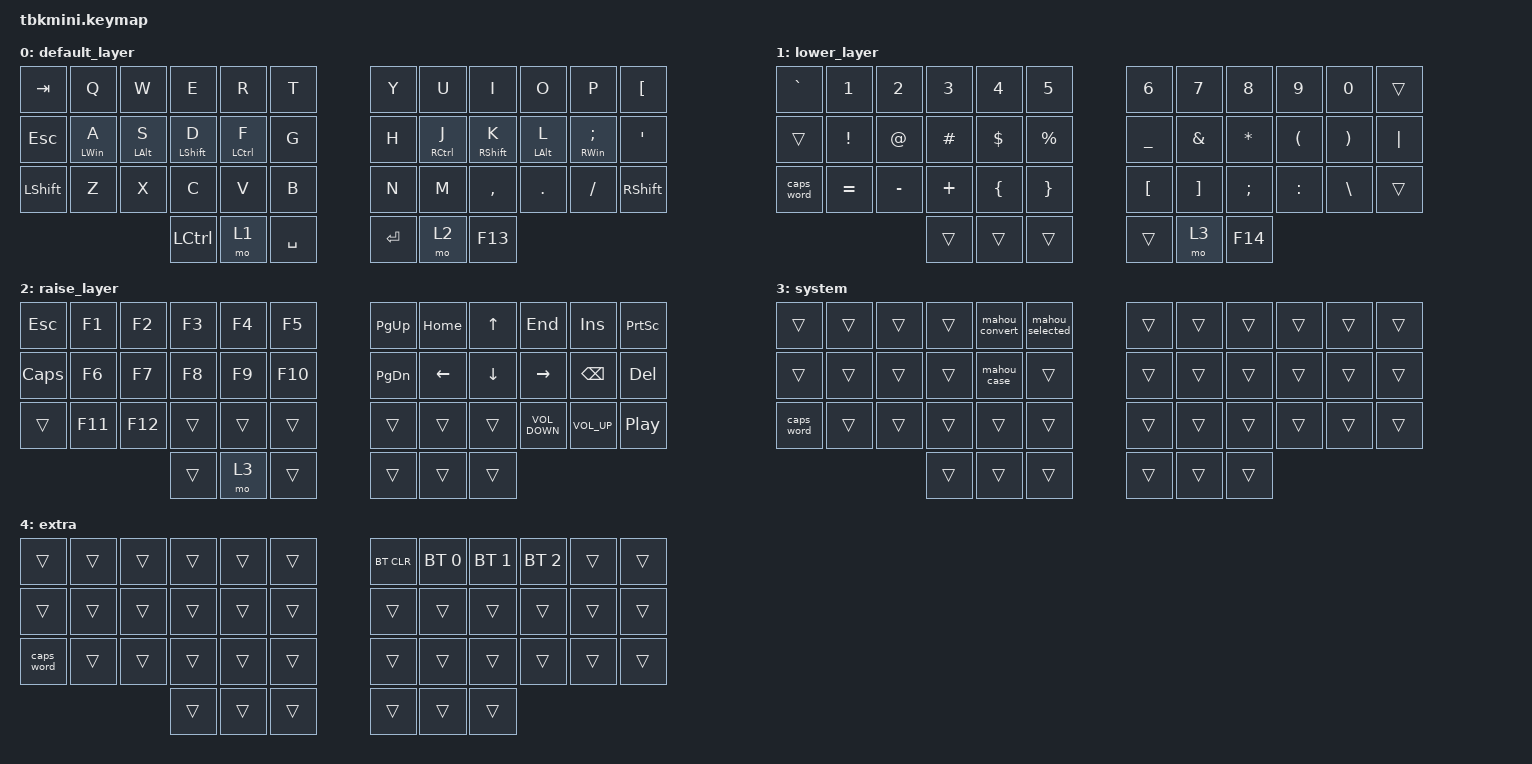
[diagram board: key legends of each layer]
#include <behaviors.dtsi>
#include <dt-bindings/zmk/bt.h>
#include <dt-bindings/zmk/keys.h>

#define DEFAULT 0
#define NUM 1
#define SYM 2
#define FUN 3
#define NAV 4
#define MSE 5
#define MED 6

&lt {
    tapping-term-ms = <300>;
    quick_tap_ms = <200>;
    flavor = "hold-preferred";
};

&caps_word { continue-list = <UNDERSCORE MINUS BACKSPACE DELETE>; };

/ {
    chosen { zmk,matrix_transform = &default_transform; };

    behaviors {
        hm: homerow_mods {
            compatible = "zmk,behavior-hold-tap";
            label = "HOMEROW_MODS";
            #binding-cells = <2>;
            tapping-term-ms = <200>;
            quick-tap-ms = <0>;
            flavor = "tap-preferred";
            bindings = <&kp>, <&kp>;
        };

        u_caps_word: u_caps_word {
            compatible = "zmk,behavior-mod-morph";
            label = "u_caps_word";
            #binding-cells = <0>;
            bindings = <&caps_word>, <&kp CAPS>;

            mods = <(MOD_LSFT|MOD_RSFT)>;
        };
    };

    macros {
        mahou_convert: new_macro {
            compatible = "zmk,behavior-macro";
            #binding-cells = <0>;
            bindings =
                <&macro_press>,
                <&kp LEFT_WIN>,
                <&macro_tap>,
                <&kp F4>,
                <&macro_release>,
                <&kp LEFT_WIN>;

            label = "NEW_MACRO";
        };

        mahou_selected: mahou_selected {
            compatible = "zmk,behavior-macro";
            #binding-cells = <0>;
            bindings =
                <&macro_press>,
                <&kp LEFT_WIN>,
                <&macro_tap>,
                <&kp F5>,
                <&macro_release>,
                <&kp LEFT_WIN>;

            label = "MAHOU_SELECTED";
        };

        mahou_case: mahou_case {
            compatible = "zmk,behavior-macro";
            #binding-cells = <0>;
            bindings =
                <&macro_press>,
                <&kp LS(LEFT_WIN)>,
                <&macro_tap>,
                <&kp F4>,
                <&macro_release>,
                <&kp LS(LEFT_WIN)>;

            label = "MAHOU_CASE";
        };
    };

    keymap {
        compatible = "zmk,keymap";

        default_layer {
            bindings = <
&kp TAB     &kp Q           &kp W           &kp E             &kp R        &kp T        &kp Y    &kp U        &kp I              &kp O           &kp P               &kp LEFT_BRACKET
&kp ESCAPE  &hm LEFT_WIN A  &hm LEFT_ALT S  &hm LEFT_SHIFT D  &hm LCTRL F  &kp G        &kp H    &hm RCTRL J  &hm RIGHT_SHIFT K  &hm LEFT_ALT L  &hm RIGHT_WIN SEMI  &kp SQT
&kp LSHFT   &kp Z           &kp X           &kp C             &kp V        &kp B        &kp N    &kp M        &kp COMMA          &kp DOT         &kp FSLH            &kp RIGHT_SHIFT
                                            &kp LCTRL         &mo 1        &kp SPACE    &kp RET  &mo 2        &kp F13
            >;
        };

        lower_layer {
            bindings = <
&kp GRAVE   &kp N1     &kp N2     &kp N3    &kp N4          &kp N5             &kp N6            &kp N7             &kp N8    &kp N9     &kp N0                 &trans
&trans      &kp EXCL   &kp AT     &kp HASH  &kp DOLLAR      &kp PERCENT        &kp UNDER         &kp AMPS           &kp STAR  &kp LPAR   &kp RIGHT_PARENTHESIS  &kp PIPE
&caps_word  &kp EQUAL  &kp MINUS  &kp PLUS  &kp LEFT_BRACE  &kp RIGHT_BRACE    &kp LEFT_BRACKET  &kp RIGHT_BRACKET  &kp SEMI  &kp COLON  &kp BACKSLASH          &trans
                                  &trans    &trans          &trans             &trans            &mo 3              &kp F14
            >;
        };

        raise_layer {
            bindings = <
&kp ESCAPE    &kp F1   &kp F2   &kp F3  &kp F4  &kp F5     &kp PG_UP  &kp HOME  &kp UP    &kp END            &kp INS        &kp PRINTSCREEN
&kp CAPSLOCK  &kp F6   &kp F7   &kp F8  &kp F9  &kp F10    &kp PG_DN  &kp LEFT  &kp DOWN  &kp RIGHT          &kp BACKSPACE  &kp DEL
&trans        &kp F11  &kp F12  &trans  &trans  &trans     &trans     &trans    &trans    &kp C_VOLUME_DOWN  &kp C_VOL_UP   &kp C_PLAY_PAUSE
                                &trans  &mo 3   &trans     &trans     &trans    &trans
            >;
        };

        system {
            bindings = <
&trans      &trans  &trans  &trans  &mahou_convert  &mahou_selected    &trans  &trans  &trans  &trans  &trans  &trans
&trans      &trans  &trans  &trans  &mahou_case     &trans             &trans  &trans  &trans  &trans  &trans  &trans
&caps_word  &trans  &trans  &trans  &trans          &trans             &trans  &trans  &trans  &trans  &trans  &trans
                            &trans  &trans          &trans             &trans  &trans  &trans
            >;
        };

        extra {
            bindings = <
&trans      &trans  &trans  &trans  &trans  &trans    &bt BT_CLR  &bt BT_SEL 0  &bt BT_SEL 1  &bt BT_SEL 2  &trans  &trans
&trans      &trans  &trans  &trans  &trans  &trans    &trans      &trans        &trans        &trans        &trans  &trans
&caps_word  &trans  &trans  &trans  &trans  &trans    &trans      &trans        &trans        &trans        &trans  &trans
                            &trans  &trans  &trans    &trans      &trans        &trans
            >;
        };
    };
};
